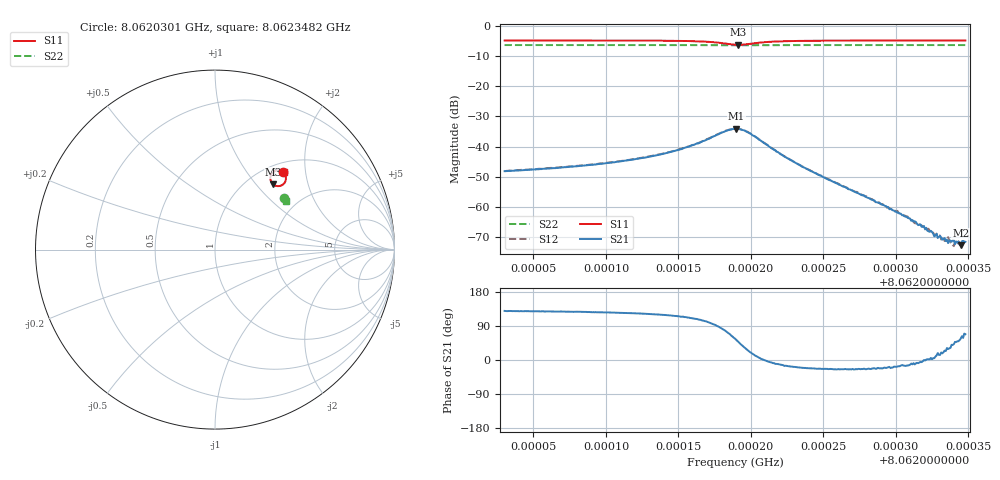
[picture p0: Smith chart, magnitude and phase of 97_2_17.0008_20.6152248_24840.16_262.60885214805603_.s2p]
#  HZ  S  RI  R  50.00
! Rohde & Schwarz Vector Network Analyzer
! Rohde-Schwarz,ZNB20-2Port,1311601062101988,3.16
! Created: UTC 3/20/2024, 10:56:22 PM
! freq[Hz]  re:S11  im:S11  re:S21  im:S21  re:S12  im:S12  re:S22  im:S22
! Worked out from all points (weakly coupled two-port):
!   401 points, 8.0620301 GHz to 8.0623482 GHz, reference 50 ohm
!   highest |S21| = -34.08 dB at 8.0621899 GHz (marker M1); lowest = -72.6 dB at 8.062345 GHz (marker M2)
!   lowest |S11| = -6.2 dB at 8.0621915 GHz (marker M3), VSWR 2.90, Z = 64.6 + j61.7 ohm
!   |S11| at or under -10 dB: nowhere
!   |S22| runs from -6.4 to -6.3 dB; largest |S21 - S12| = 0.0015
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8.06203006e9  0.3786 0.4333  -0.0025 0.00303  -0.00231 0.00322  0.3872 0.2882
8.06208336e9  0.3842 0.4273  -0.0029 0.00385  -0.00269 0.00407  0.3892 0.2853
8.06211119e9  0.388 0.4223  -0.00325 0.00475  -0.00301 0.00499  0.3899 0.2838
8.06213665e9  0.3922 0.414  -0.00367 0.00634  -0.00333 0.00668  0.3908 0.2822
8.06215653e9  0.3955 0.4005  -0.00371 0.00916  -0.0032 0.00951  0.3914 0.2807
8.06217244e9  0.3906 0.3768  -0.00171 0.0139  -0.000891 0.0142  0.3914 0.279
8.06218278e9  0.3658 0.3558  0.00434 0.0177  0.0056 0.0175  0.3903 0.278
8.06218914e9  0.3348 0.357  0.0108 0.0163  0.0122 0.0157  0.3892 0.2783
8.06218994e9  0.3308 0.359  0.0118 0.0159  0.0129 0.015  0.389 0.2784
8.06219153e9  0.3235 0.364  0.0133 0.0144  0.0143 0.0136  0.3889 0.2788
8.06219869e9  0.3083 0.3972  0.0156 0.0067  0.0161 0.00563  0.389 0.28
8.06220982e9  0.3243 0.4309  0.0112 -0.000207  0.0113 -0.0009  0.3905 0.2807
8.06222255e9  0.3439 0.44  0.00685 -0.00169  0.00679 -0.00213  0.3918 0.2801
8.06224244e9  0.3602 0.44  0.00358 -0.00145  0.00354 -0.00169  0.3931 0.2789
8.06229573e9  0.3759 0.4341  0.000873 -0.000286  0.000883 -0.000367  0.3955 0.2761
8.06230686e9  0.3777 0.4331  0.000666 -0.000188  0.000685 -0.000199  0.3959 0.2754
8.06231164e9  0.3782 0.4326  0.000589 -0.000119  0.000585 -0.000159  0.396 0.2751
8.06232834e9  0.3806 0.4313  0.00035 7.54e-05  0.000358 5.06e-05  0.3966 0.2744
8.06233629e9  0.3814 0.4307  0.00022 0.000122  0.000277 0.000155  0.3968 0.2739
8.06233868e9  0.3817 0.4305  0.000202 0.000171  0.000213 0.000142  0.397 0.2737
8.06234504e9  0.3824 0.4299  0.000128 0.000195  0.000154 0.000198  0.3971 0.2735
8.06234822e9  0.3827 0.4297  9.97e-05 0.000245  0.000136 0.00022  0.3973 0.2734
